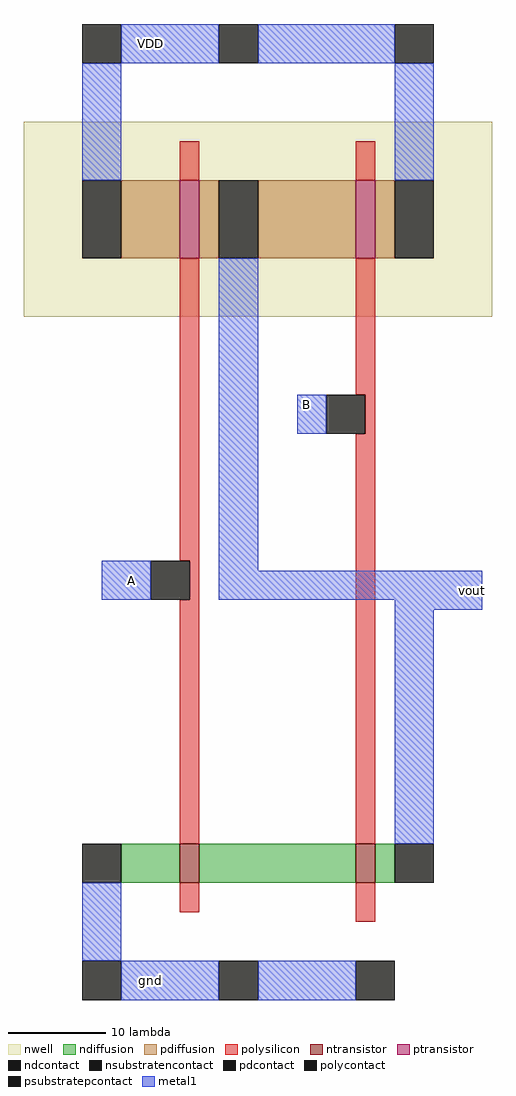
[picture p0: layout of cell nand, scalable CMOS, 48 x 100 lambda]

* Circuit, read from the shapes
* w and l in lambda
.subckt nand A B VDD gnd vout
M1 n1 A gnd gnd nfet w=4 l=2
M2 vout B n1 gnd nfet w=4 l=2
M3 vout A VDD n2 pfet w=8 l=2
M4 VDD B vout n2 pfet w=8 l=2
.ends

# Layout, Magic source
magic
tech scmos
<< nwell >>
rect -6 -6 42 14
<< ntransistor >>
rect 10 -64 12 -60
rect 28 -64 30 -60
<< ptransistor >>
rect 10 0 12 8
rect 28 0 30 8
<< ndiffusion >>
rect 4 -64 10 -60
rect 12 -64 28 -60
rect 30 -64 32 -60
<< pdiffusion >>
rect 4 0 10 8
rect 12 0 14 8
rect 18 0 28 8
rect 30 0 32 8
<< ndcontact >>
rect 0 -64 4 -60
rect 32 -64 36 -60
<< pdcontact >>
rect 0 0 4 8
rect 14 0 18 8
rect 32 0 36 8
<< psubstratepcontact >>
rect 0 -76 4 -72
rect 14 -76 18 -72
rect 28 -76 32 -72
<< nsubstratencontact >>
rect 0 20 4 24
rect 14 20 18 24
rect 32 20 36 24
<< polysilicon >>
rect 10 8 12 12
rect 28 8 30 12
rect 10 -31 12 0
rect 28 -14 30 0
rect 29 -18 30 -14
rect 11 -35 12 -31
rect 10 -60 12 -35
rect 28 -60 30 -18
rect 10 -67 12 -64
rect 28 -68 30 -64
<< polycontact >>
rect 25 -18 29 -14
rect 7 -35 11 -31
<< metal1 >>
rect 4 20 14 24
rect 18 20 32 24
rect 0 8 4 20
rect 32 8 36 20
rect 2 -35 7 -31
rect 14 -32 18 0
rect 22 -18 25 -14
rect 14 -35 41 -32
rect 32 -36 41 -35
rect 32 -60 36 -36
rect 0 -72 4 -64
rect 4 -76 14 -72
rect 18 -76 28 -72
<< labels >>
rlabel metal1 7 22 7 22 5 VDD
rlabel metal1 7 -74 7 -74 1 gnd
rlabel metal1 5 -33 5 -33 1 A
rlabel metal1 23 -15 23 -15 1 B
rlabel metal1 40 -34 40 -34 7 vout
<< end >>
